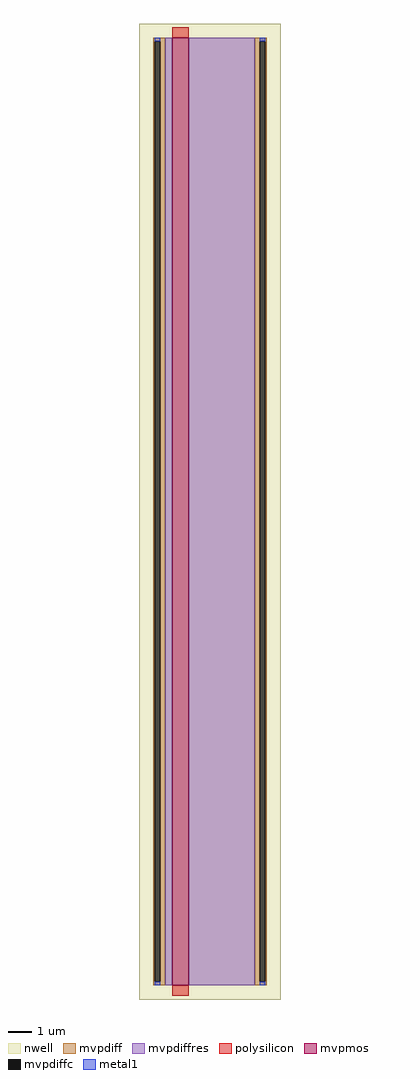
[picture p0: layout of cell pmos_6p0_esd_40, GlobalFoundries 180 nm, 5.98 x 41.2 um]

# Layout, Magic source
magic
tech gf180mcuD
magscale 1 10
<< nwell >>
rect 0 12 1196 8252
<< mvpmos >>
rect 278 132 418 8132
<< mvpdiff >>
rect 120 8103 222 8132
rect 120 161 133 8103
rect 179 161 222 8103
rect 120 132 222 161
rect 974 8103 1076 8132
rect 974 161 1017 8103
rect 1063 161 1076 8103
rect 974 132 1076 161
<< mvpdiffc >>
rect 133 161 179 8103
rect 1017 161 1063 8103
<< polysilicon >>
rect 278 8132 418 8220
rect 278 44 418 132
<< mvpdiffres >>
rect 222 132 278 8132
rect 418 132 974 8132
<< metal1 >>
rect 133 8103 179 8132
rect 133 132 179 161
rect 1017 8103 1063 8132
rect 1017 132 1063 161
<< end >>
